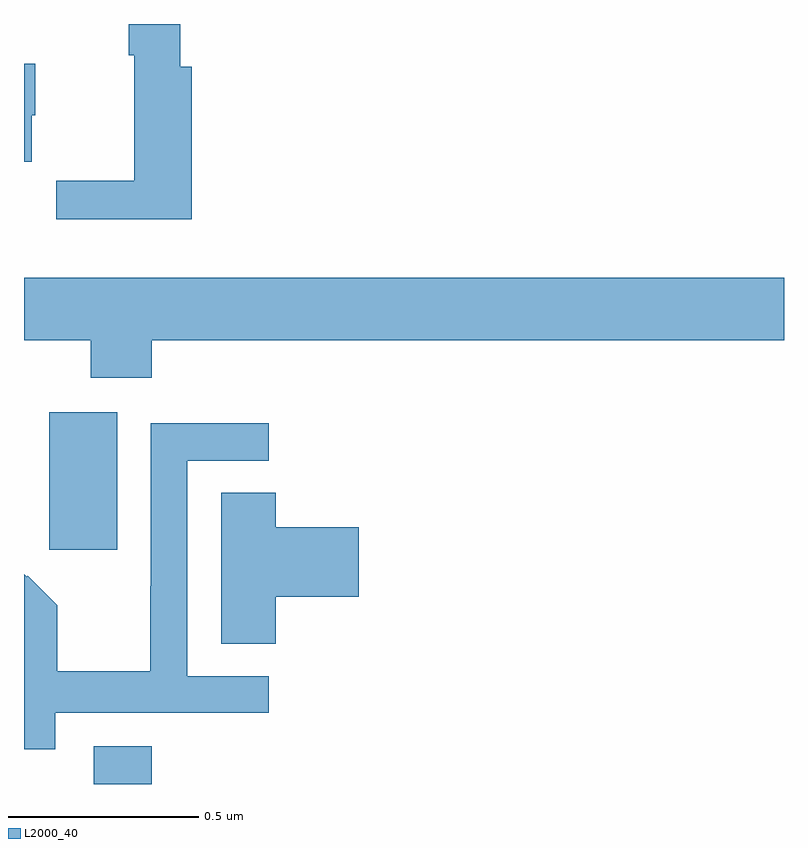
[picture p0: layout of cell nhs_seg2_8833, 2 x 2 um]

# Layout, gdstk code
import gdstk
lib = gdstk.Library(unit=1e-6, precision=1e-09)
def R(c, l, rs):  # rectangles x0, y0, x1, y1
    for r in rs: c.add(gdstk.rectangle(r[:2], r[2:], *l))
def P(c, l, *ps):  # polygons
    for p in ps: c.add(gdstk.Polygon(p, *l))
L2000_40 = (2000, 40)

nhs_seg2_8833 = lib.new_cell('nhs_seg2_8833')
R(nhs_seg2_8833, L2000_40, [(221.183,647.8,221.336,647.899), (221.066,648.417,221.245,648.778)])
P(nhs_seg2_8833, L2000_40, [(221.441,649.687),(221.411,649.687),(221.411,649.8),(221.275,649.8),(221.275,649.718),(221.29,649.718),(221.29,649.388),(221.085,649.388),(221.085,649.286),(221.441,649.286)],
  [(221.02,649.56),(221.029,649.56),(221.029,649.696),(221,649.696),(221,649.437),(221.02,649.437)],
  [(221.336,648.968),(223,648.968),(223,649.132),(221,649.132),(221,648.968),(221.176,648.968),(221.176,648.869),(221.336,648.869)],
  [(221.082,647.988),(221.644,647.988),(221.644,648.084),(221.43,648.084),(221.43,648.651),(221.644,648.651),(221.644,648.75),(221.334,648.75),(221.334,648.32),(221.332,648.32),(221.332,648.097),(221.087,648.097),(221.087,648.271),(221.01,648.348),(221.007,648.345),(221,648.352),(221,647.891),(221.082,647.891)],
  [(221.663,648.293),(221.881,648.293),(221.881,648.476),(221.663,648.476),(221.663,648.566),(221.519,648.566),(221.519,648.169),(221.663,648.169)])

lib.write_gds('nhs_seg2_8833.gds')
